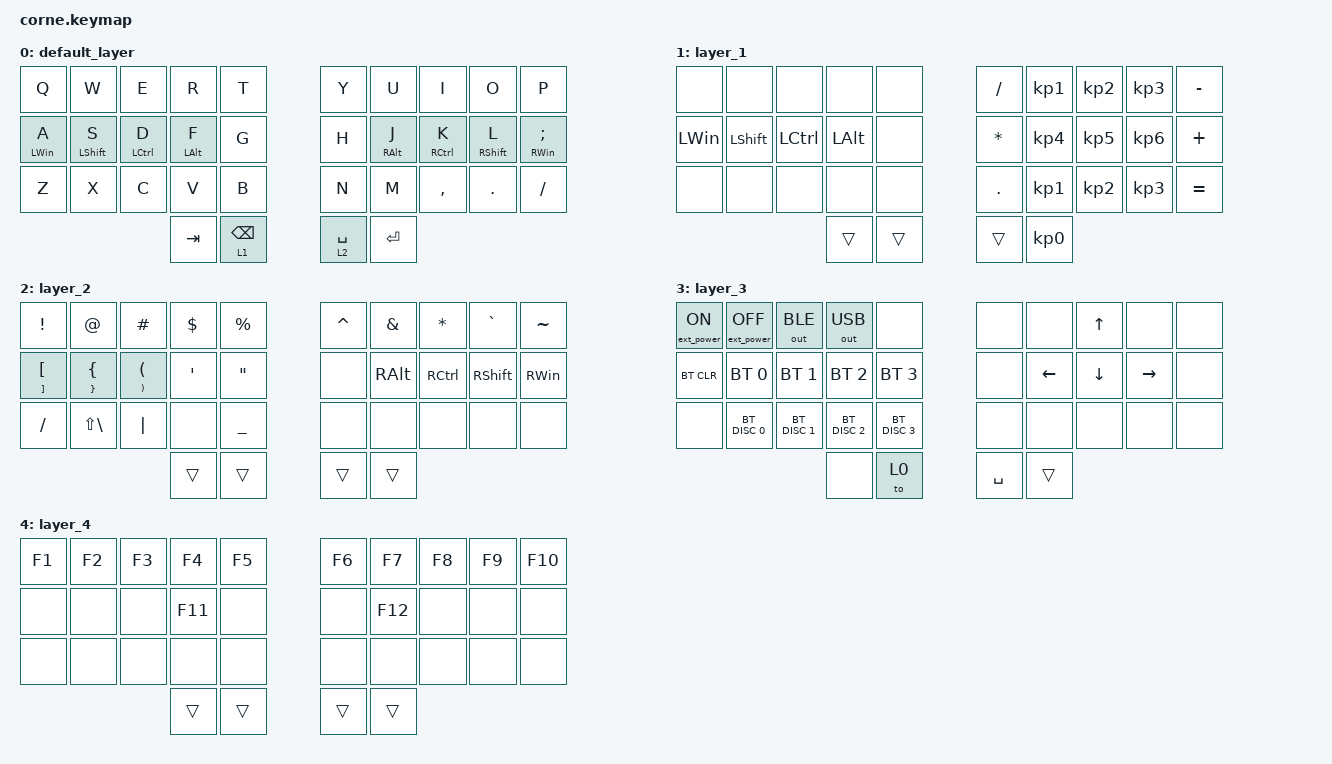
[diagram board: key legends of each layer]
/*
 * Copyright (c) 2020 The ZMK Contributors
 *
 * SPDX-License-Identifier: MIT
 */

#include <dt-bindings/zmk/bt.h>
#include <dt-bindings/zmk/ext_power.h>
#include <dt-bindings/zmk/keys.h>
#include <dt-bindings/zmk/outputs.h>

/ {
    combos {
        compatible = "zmk,combos";

        Escape-right-thumb-combo {
            bindings = <&kp ESCAPE>;
            key-positions = <32 33>;
        };

        delete-left-cluster-combo {
            bindings = <&kp DEL>;
            key-positions = <30 31>;
        };

        layer3change {
            bindings = <&to 3>;
            key-positions = <31 32>;
        };
    };

    keymap {
        compatible = "zmk,keymap";

        default_layer {
            // -----------------------------------------------------------------------------------------
            // |  TAB |  Q  |  W  |  E  |  R  |  T  |   |  Y  |  U   |  I  |  O  |  P  | BKSP |
            // | CTRL |  A  |  S  |  D  |  F  |  G  |   |  H  |  J   |  K  |  L  |  ;  |  '   |
            // | SHFT |  Z  |  X  |  C  |  V  |  B  |   |  N  |  M   |  ,  |  .  |  /  | ESC  |
            //                    | GUI | LWR | SPC |   | ENT | RSE  | ALT |

            bindings = <
&kp Q           &kp W             &kp E               &kp R           &kp T              &kp Y        &kp U            &kp I                &kp O              &kp P
&mt LEFT_WIN A  &mt LEFT_SHIFT S  &mt LEFT_CONTROL D  &mt LEFT_ALT F  &kp G              &kp H        &mt RIGHT_ALT J  &mt RIGHT_CONTROL K  &mt RIGHT_SHIFT L  &mt RIGHT_WIN SEMICOLON
&kp Z           &kp X             &kp C               &kp V           &kp B              &kp N        &kp M            &kp COMMA            &kp PERIOD         &kp SLASH
                                                      &kp TAB         &lt 1 BACKSPACE    &lt 2 SPACE  &kp ENTER
            >;
        };

        layer_1 {
            // -----------------------------------------------------------------------------------------
            // |  TAB |  !  |  @  |  #  |  $  |  %  |   |  ^  |  &  |  *  |  (  |  )  | BKSP |
            // | CTRL |     |     |     |     |     |   |  -  |  =  |  [  |  ]  |  \  |  `   |
            // | SHFT |     |     |     |     |     |   |  _  |  +  |  {  |  }  | "|" |  ~   |
            //                    | GUI |     | SPC |   | ENT |     | ALT |

            bindings = <
&none         &none           &none             &none         &none     &kp SLASH     &kp KP_NUMBER_1  &kp KP_NUMBER_2  &kp KP_NUMBER_3  &kp MINUS
&kp LEFT_WIN  &kp LEFT_SHIFT  &kp LEFT_CONTROL  &kp LEFT_ALT  &none     &kp ASTERISK  &kp KP_NUMBER_4  &kp KP_NUMBER_5  &kp KP_NUMBER_6  &kp PLUS
&none         &none           &none             &none         &none     &kp PERIOD    &kp KP_NUMBER_1  &kp KP_NUMBER_2  &kp KP_NUMBER_3  &kp EQUAL
                                                &trans        &trans    &trans        &kp KP_NUMBER_0
            >;
        };

        layer_2 {
            bindings = <
&kp EXCLAMATION                 &kp AT_SIGN                 &kp HASH                                &kp DOLLAR  &kp PERCENT          &kp CARET  &kp AMPERSAND  &kp ASTERISK       &kp GRAVE  &kp TILDE
&mt RIGHT_BRACKET LEFT_BRACKET  &mt RIGHT_BRACE LEFT_BRACE  &mt RIGHT_PARENTHESIS LEFT_PARENTHESIS  &kp SQT     &kp DOUBLE_QUOTES    &none      &kp RIGHT_ALT  &kp RIGHT_CONTROL  &kp RSHFT  &kp RIGHT_WIN
&kp SLASH                       &kp LS(BSLH)                &kp PIPE                                &none       &kp UNDERSCORE       &none      &none          &none              &none      &none
                                                                                                    &trans      &trans               &trans     &trans
            >;
        };

        layer_3 {
            // -----------------------------------------------------------------------------------------
            // |  TAB |  1  |  2  |  3  |  4  |  5  |   |  6  |  7  |  8  |  9  |  0  | BKSP |
            // | BTCLR| BT1 | BT2 | BT3 | BT4 | BT5 |   | LFT | DWN |  UP | RGT |     |      |
            // | SHFT |     |     |     |     |     |   |     |     |     |     |     |      |
            //                    | GUI |     | SPC |   | ENT |     | ALT |

            bindings = <
&ext_power EP_ON  &ext_power EP_OFF  &out OUT_BLE   &out OUT_USB   &none            &none      &none           &kp UP_ARROW    &none            &none
&bt BT_CLR        &bt BT_SEL 0       &bt BT_SEL 1   &bt BT_SEL 2   &bt BT_SEL 3     &none      &kp LEFT_ARROW  &kp DOWN_ARROW  &kp RIGHT_ARROW  &none
&none             &bt BT_DISC 0      &bt BT_DISC 1  &bt BT_DISC 2  &bt BT_DISC 3    &none      &none           &none           &none            &none
                                                    &none          &to 0            &kp SPACE  &trans
            >;
        };

        layer_4 {
            bindings = <
&kp F1  &kp F2  &kp F3  &kp F4   &kp F5    &kp F6  &kp F7   &kp F8  &kp F9  &kp F10
&none   &none   &none   &kp F11  &none     &none   &kp F12  &none   &none   &none
&none   &none   &none   &none    &none     &none   &none    &none   &none   &none
                        &trans   &trans    &trans  &trans
            >;
        };
    };
};

